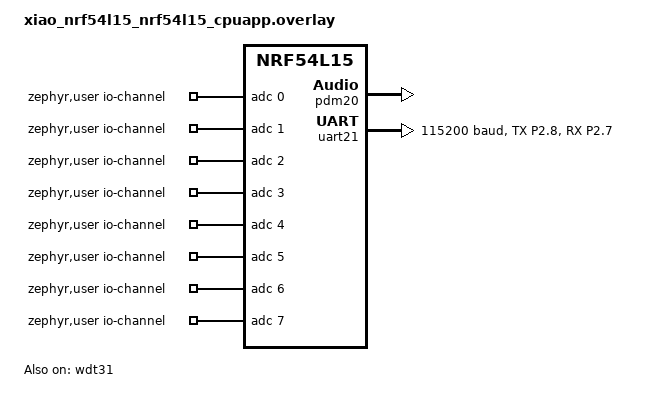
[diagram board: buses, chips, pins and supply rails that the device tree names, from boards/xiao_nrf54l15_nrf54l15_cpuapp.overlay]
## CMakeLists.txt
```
# SPDX-License-Identifier: Apache-2.0

cmake_minimum_required(VERSION 3.20.0)

find_package(Zephyr REQUIRED HINTS $ENV{ZEPHYR_BASE})
project(nrf54l15_test)

target_sources(app PRIVATE src/main.c)
```

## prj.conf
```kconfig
# Enable UART driver
CONFIG_SERIAL=y
CONFIG_UART_INTERRUPT_DRIVEN=y

# Enable hardware info driver
CONFIG_HWINFO=y

# Enable JSON support
CONFIG_JSON_LIBRARY=y

# Enable GPIO
CONFIG_GPIO=y

# Enable console and logging
CONFIG_CONSOLE=y
CONFIG_UART_CONSOLE=y
CONFIG_LOG=y

# Enable printk
CONFIG_PRINTK=y
```

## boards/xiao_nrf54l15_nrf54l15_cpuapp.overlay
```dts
/*
 * Comprehensive board overlay for nRF54L15 
 * Includes UART, ADC, Watchdog, DMIC, and more!
 * (Because why not enable everything? 😄)
 */

/ {
    zephyr,user {
        io-channels = <&adc 0>, <&adc 1>, <&adc 2>, <&adc 3>,
            <&adc 4>, <&adc 5>, <&adc 6>, <&adc 7>;
    };

    //status_gpio: status_gpio {
    //gpios = <&gp;io1 4 GPIO_ACTIVE_HIGH>;
    //};
};

&wdt31 {
    status = "okay";
};

dmic_dev: &pdm20 {
    status = "okay";
};

&uart21 {
	status = "okay";
	current-speed = <115200>;
	pinctrl-0 = <&uart21_default>;
	pinctrl-1 = <&uart21_sleep>;
	pinctrl-names = "default", "sleep";
};

///{
   // chosen{
       //zephyr,console = &uart20;
  //  };
//};

&pinctrl {
    uart21_default: uart21_default {
         group1 {
               psels = <NRF_PSEL(UART_TX, 2,8)>;
                nordic,drive-mode = <NRF_DRIVE_S0D1>;
               bias-pull-up;
        };

         group2 {
             psels = <NRF_PSEL(UART_RX, 2, 7)>;
            bias-pull-up;
          };
    };

    uart21_sleep: uart21_sleep {
        group1 {
             psels = <NRF_PSEL(UART_TX, 2, 8)>,
              <NRF_PSEL(UART_RX, 2, 7)>;
             low-power-enable;
          };
    };
};
```

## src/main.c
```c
#include <stdio.h>
#include <string.h>
#include <zephyr/kernel.h>
#include <zephyr/device.h>
#include <zephyr/drivers/uart.h>
#include <zephyr/sys/printk.h>
#include <zephyr/logging/log.h>
#include <zephyr/devicetree.h>
#include <nrfx_power.h>
#include <zephyr/drivers/hwinfo.h>
#include <zephyr/drivers/gpio.h>
#include <zephyr/kernel_version.h>
#include <app_version.h>
#include <ncs_version.h>
#include <zephyr/sys/util.h>
#include <zephyr/data/json.h>

#define BUF_SIZE 256

const struct device *uart_dev = DEVICE_DT_GET(DT_NODELABEL(uart21));

static const char *TRIGGER = "getID";
static const char *TRIGGER1 = "getVERSION";

static uint8_t get_hw_id[32];
static ssize_t get_hw_id_len = 0;

static char rx_buf[BUF_SIZE];
static int rx_pos = 0;

//Json struct 
struct hw_msg
{
    const char *HW_ID;
};

struct version_msg
{
    const char *app_build;
    const char *ncs_build;
    const char *kernel;
};
//in Json formatieren
static const struct json_obj_descr hw_msg_descr[] = {
    JSON_OBJ_DESCR_PRIM(struct hw_msg, HW_ID, JSON_TOK_STRING)};

static const struct json_obj_descr version_msg_descr[] = {
    JSON_OBJ_DESCR_PRIM(struct version_msg, app_build, JSON_TOK_STRING),
    JSON_OBJ_DESCR_PRIM(struct version_msg, ncs_build, JSON_TOK_STRING),
    JSON_OBJ_DESCR_PRIM(struct version_msg, kernel, JSON_TOK_STRING),
};

void send_hardware(const struct device *dev)
{
    struct hw_msg msg;
    char tx_buf[256];
    char hw_id_hex[2 * sizeof(get_hw_id)];
    int ret;
    int n = 0;

    if (get_hw_id_len <= 0)
    {
        msg.HW_ID = "unavailable";
        // n = snprintf(tx_buf, sizeof(tx_buf), "HW-ID: <unavailable>\n");
    }
    else
    {

        // Hardware ID Länge + ganze Zahl in Hexa
        // n += snprintf(tx_buf + n, sizeof(tx_buf) - n, "%02X", get_hw_id[0]);

        for (int i = 1; i < get_hw_id_len && n < (int)sizeof(hw_id_hex); i++)
        {
            n += snprintf(&hw_id_hex[n], sizeof(hw_id_hex) - n, "%02X", get_hw_id[i]);
        }

        hw_id_hex[n] = '\0';
        msg.HW_ID = hw_id_hex;

        // zeilenende + neue Zeile
        // n += snprintf(tx_buf + n, sizeof(tx_buf) - n, "\n");
    }
    ret = json_obj_encode_buf(hw_msg_descr,
                              ARRAY_SIZE(hw_msg_descr),
                              &msg,
                              tx_buf,
                              sizeof(tx_buf));

    if (ret < 0)
    {
        snprintf(tx_buf, sizeof(tx_buf),
                 "{\"hw_id\":\"error\"}");
    }

    size_t len = strnlen(tx_buf, sizeof(tx_buf));
    if (len < sizeof(tx_buf) - 1)
    {
        tx_buf[len++] = '\n';
        tx_buf[len] = '\0';
    }

    // Tatsächlich vorhandene Nutzlänge sicher bestimmen
    // size_t len = strnlen(tx_buf, sizeof(tx_buf));

    // Interrupt Deaktivieren
    // uart_irq_rx_disable(dev);
    // printk("Rx-disabled\n");

    // Senden über Polling Uart
    for (size_t i = 0; i < len; i++)
    {
        uart_poll_out(dev, (uint8_t)tx_buf[i]);
    }

    // Interrupt Aktivieren
    // uart_irq_rx_enable(dev);
    // printk("Rx-enable\n");
}

void send_version(const struct device *dev)
{
    struct version_msg msg;
    char tx_buf[256];
    char ncs_buf[256];
    char app_buf[256];
    char kernel_buf[256];

    int ret;

    // ncs_build_version
    const char *ncs_build = STRINGIFY(NCS_BUILD_VERSION);
    snprintf(ncs_buf, sizeof(ncs_buf), "NCS_BUILD_VERSION: %s", ncs_build);

    // app_build_version
    const char *app_build = STRINGIFY(APP_BUILD_VERSION);
    snprintf(app_buf, sizeof(app_buf), "APP_BUILD_VERSION: v%s-%s",
             APP_VERSION_STRING, app_build);

    // sys_kernel_version
    uint32_t v = sys_kernel_version_get();
    snprintf(kernel_buf, sizeof(kernel_buf),
             "SYS_KERNEL_VERSION: %u.%u.%u",
             SYS_KERNEL_VER_MAJOR(v),
             SYS_KERNEL_VER_MINOR(v),
             SYS_KERNEL_VER_PATCHLEVEL(v));

    msg.ncs_build = ncs_buf;
    msg.app_build = app_buf;
    msg.kernel = kernel_buf;

    ret = json_obj_encode_buf(version_msg_descr,
                              ARRAY_SIZE(version_msg_descr),
                              &msg,
                              tx_buf,
                              sizeof(tx_buf));

    if (ret < 0)
    {
        snprintf(tx_buf, sizeof(tx_buf),
                 "{\"error\":\"version_encode_failed\"}");
    }

    size_t len = strnlen(tx_buf, sizeof(tx_buf));
    if (len < sizeof(tx_buf) - 1)
    {
        tx_buf[len++] = '\n';
        tx_buf[len] = '\0';
    }

    for (size_t i = 0; i < len; i++)
    {
        uart_poll_out(dev, (uint8_t)tx_buf[i]);
    }
}

// ISR-Uart-Interrupt Serivce Routine
static void uart_isr(const struct device *dev, void *user_data)
{

    if (!uart_irq_update(dev))
    {
        return;
    }

    if (!uart_irq_rx_ready(dev))
    {
        return;
    }

    uint8_t c;
    int rec;

    // Alle aktuell verfügbaren Bytes abholen
    while ((rec = uart_fifo_read(dev, &c, 1)) > 0)
    {

        // Zeichenende erkennen
        if (c == '\n') //|| c == '\r')
        {
            // Null-terminieren
            if (rx_pos < (int)sizeof(rx_buf))
            {
                rx_buf[rx_pos] = '\0';
            }
            else
            {
                rx_buf[sizeof(rx_buf) - 1] = '\0';
            }

            // Vergleich mit Text
            if (strcmp(rx_buf, TRIGGER) == 0)
            {
                send_hardware(dev);
            }
            if (strcmp(rx_buf, TRIGGER1) == 0)
            {
                send_version(dev);
            }

            // Für nächste Zeile zurücksetzen
            rx_pos = 0;
            continue;
        }

        // Normales Zeichen puffern Überlaufschutz
        if (rx_pos < (int)sizeof(rx_buf) - 1)
        {
            rx_buf[rx_pos++] = c;
        }
        else
        {
            // Zu lange Zeile: verwerfen und neu beginnen
            rx_pos = 0;
        }
    }
}

int main(void)
{
    /* Port 1 ist ein always on bzw. low-power-freunldiche Domäne: stabile versorgung und
       weckt das System zuverlässig
       Port 2 ist ein High-Performance Domäne bei schnellen Signalen wie UART RX kann dann
       das Startbit verpasst werden, außer man hält die Domäne wach mit
       nrfx_power_constlat_mode_request(), passt das Power-Managment an mit konstanter Latenz

       Port 2.08 (TX) und 2.07 (RX) von UART21 werden mit verschiedenen spannung
       Betrieben um diese aufzuheben muss die nrfx_power_constlat_mode_request()
       Eingefügt werden anderenfalls kann man im xiao_nrf54l15_nrfl15_cpuapp.overlay
       die Pins anderes konfigurieren zum Beispiel P1.04 und P1.05 dann würde Uart21
       funktionieren.
   */
    nrfx_power_constlat_mode_request();

    if (!device_is_ready(uart_dev))
    {
        printk("Uart Device not ready\n");
        return -1;
    }

    // Hardware-ID holen
    get_hw_id_len = hwinfo_get_device_id(get_hw_id, sizeof(get_hw_id));

    // Uart interrupt einstellen
    uart_irq_callback_user_data_set(uart_dev, uart_isr, NULL);

    uart_irq_rx_enable(uart_dev);

    while (1)
    {

        k_sleep(K_SECONDS(1));
        printk("main enable\n");

        // Consolen ausgabe
        printk("sys_kernel_version_get: %d\n", sys_kernel_version_get());
        printk("APP_BUILD_VERSION: v%s-%s\n", APP_VERSION_STRING, STRINGIFY(APP_BUILD_VERSION));
        printk("NCS_BUILD_VERSION: %s\n", STRINGIFY(NCS_BUILD_VERSION));
    }

    return 0;
}
```
